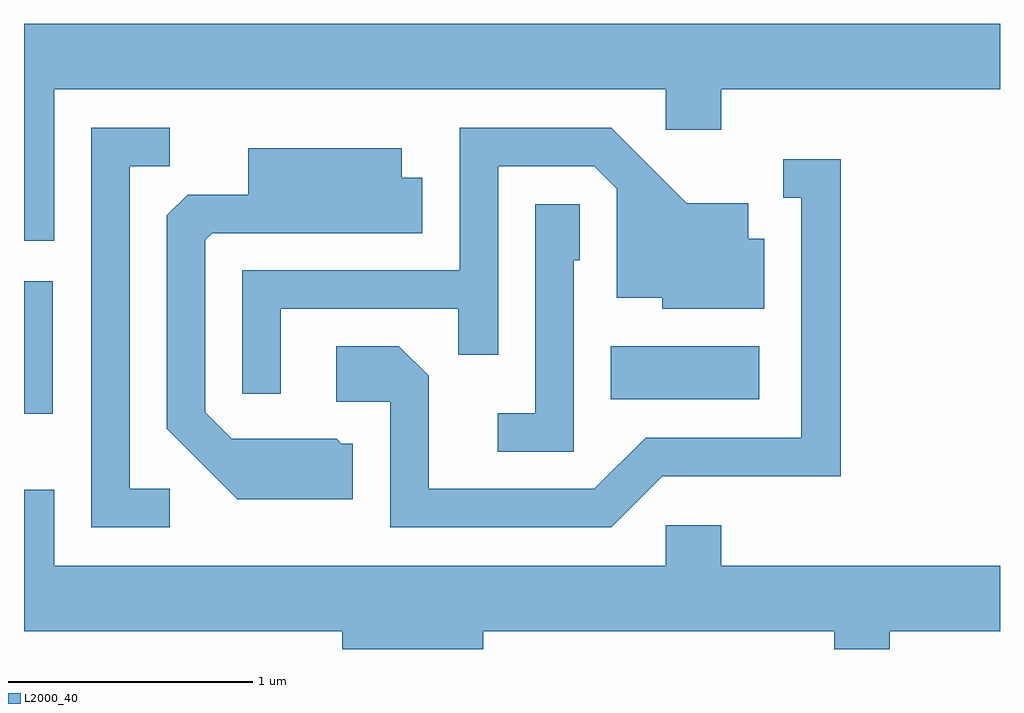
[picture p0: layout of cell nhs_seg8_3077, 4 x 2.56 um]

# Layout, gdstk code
import gdstk
lib = gdstk.Library(unit=1e-6, precision=1e-09)
def R(c, l, rs):  # rectangles x0, y0, x1, y1
    for r in rs: c.add(gdstk.rectangle(r[:2], r[2:], *l))
def P(c, l, *ps):  # polygons
    for p in ps: c.add(gdstk.Polygon(p, *l))
L2000_40 = (2000, 40)

nhs_seg8_3077 = lib.new_cell('nhs_seg8_3077')
R(nhs_seg8_3077, L2000_40, [(277.611,1837.306,277.729,1837.849), (280.016,1837.366,280.624,1837.584)])
P(nhs_seg8_3077, L2000_40, [(277.734,1838.636),(280.241,1838.636),(280.241,1838.471),(280.469,1838.471),(280.469,1838.636),(281.611,1838.636),(281.611,1838.904),(277.611,1838.904),(277.611,1838.016),(277.734,1838.016)],
  [(278.208,1836.999),(278.044,1836.999),(278.044,1838.321),(278.208,1838.321),(278.208,1838.479),(277.886,1838.479),(277.886,1836.841),(278.208,1836.841)],
  [(278.664,1837.736),(279.391,1837.736),(279.391,1837.548),(279.554,1837.548),(279.554,1838.321),(279.949,1838.321),(280.041,1838.229),(280.041,1837.781),(280.226,1837.781),(280.226,1837.736),(280.644,1837.736),(280.644,1838.024),(280.579,1838.024),(280.579,1838.169),(280.327,1838.169),(280.017,1838.479),(279.396,1838.479),(279.396,1837.894),(278.506,1837.894),(278.506,1837.388),(278.664,1837.388)],
  [(278.959,1837.184),(278.912,1837.184),(278.892,1837.204),(278.462,1837.204),(278.354,1837.312),(278.354,1838.019),(278.382,1838.046),(279.244,1838.046),(279.244,1838.274),(279.159,1838.274),(279.159,1838.394),(278.531,1838.394),(278.531,1838.204),(278.282,1838.204),(278.196,1838.119),(278.196,1837.244),(278.484,1836.956),(278.959,1836.956)],
  [(280.227,1837.051),(280.959,1837.051),(280.959,1838.349),(280.723,1838.349),(280.723,1838.191),(280.796,1838.191),(280.796,1837.209),(280.159,1837.209),(279.949,1836.999),(279.269,1836.999),(279.269,1837.462),(279.147,1837.584),(278.891,1837.584),(278.891,1837.356),(279.111,1837.356),(279.111,1836.841),(280.017,1836.841)],
  [(279.864,1837.936),(279.889,1837.936),(279.889,1838.164),(279.706,1838.164),(279.706,1837.309),(279.553,1837.309),(279.553,1837.151),(279.864,1837.151)],
  [(279.494,1836.416),(280.931,1836.416),(280.931,1836.342),(281.159,1836.342),(281.159,1836.416),(281.611,1836.416),(281.611,1836.684),(280.469,1836.684),(280.469,1836.849),(280.241,1836.849),(280.241,1836.684),(277.734,1836.684),(277.734,1836.994),(277.611,1836.994),(277.611,1836.416),(278.916,1836.416),(278.916,1836.342),(279.494,1836.342)])

lib.write_gds('nhs_seg8_3077.gds')
